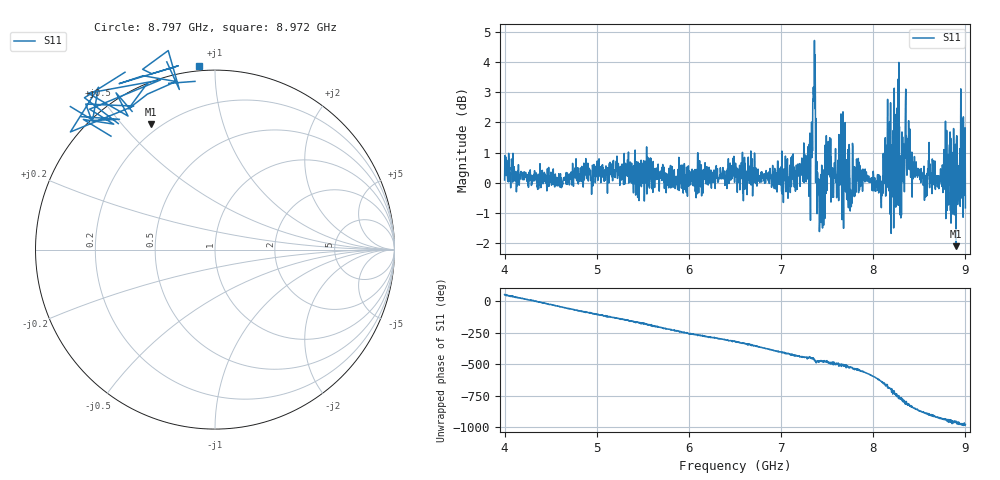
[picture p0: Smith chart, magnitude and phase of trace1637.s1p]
! Created with skrf 1.8.0 (http://scikit-rf.org).
# Hz S RI R 50.0
!freq ReS11 ImS11
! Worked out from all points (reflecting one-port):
!   1601 points, 4 GHz to 9 GHz, reference 50 ohm
!   lowest |S11| = -2.1 dB at 8.9 GHz (marker M1), VSWR 8.32, Z = 8.22 + j30.1 ohm
!   phase of S11 starts at 54 deg and turns -1033 deg over the sweep
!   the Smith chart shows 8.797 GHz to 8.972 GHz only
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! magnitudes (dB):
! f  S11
! 4 GHz  0.1
! 4.625 GHz  -0.1
! 5.25 GHz  -0.1
! 5.875 GHz  0.2
! 6.5 GHz  0.3
! 7.125 GHz  0.4
! 7.294 GHz  0.6
! 7.353 GHz  2.9
! 7.372 GHz  3.0
! 7.4 GHz  -0.4
! 7.438 GHz  -0.4
! 7.512 GHz  1.4
! 7.588 GHz  0.5
! 7.669 GHz  1.5
! 7.75 GHz  -0.9
! 7.844 GHz  0.7
! 8.081 GHz  -0.2
! 8.153 GHz  1.7
! 8.209 GHz  0.6
! 8.253 GHz  1.0
! 8.312 GHz  1.7
! 8.334 GHz  1.3
! 8.375 GHz  1.5
! 8.431 GHz  0.1
! 8.556 GHz  -0.6
! 8.9 GHz  -2.1
! 8.972 GHz  0.2
! 9 GHz  -0.8
